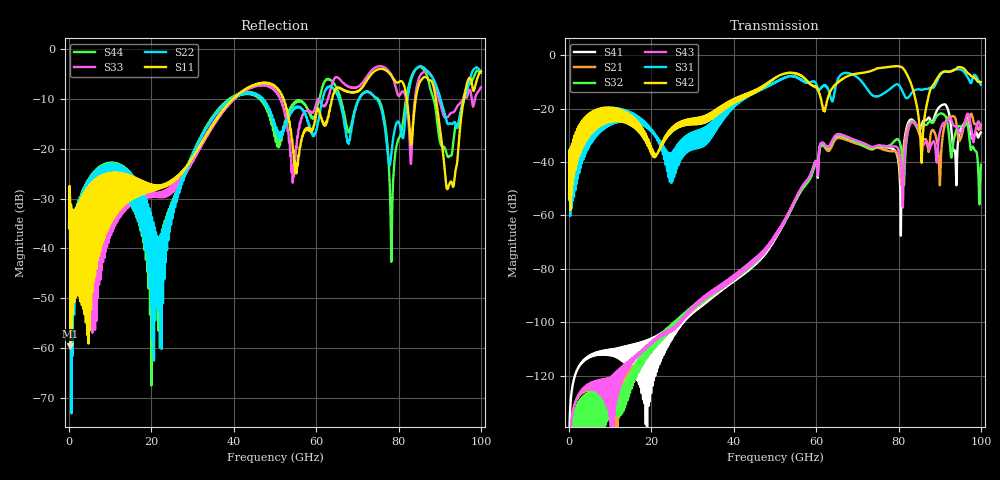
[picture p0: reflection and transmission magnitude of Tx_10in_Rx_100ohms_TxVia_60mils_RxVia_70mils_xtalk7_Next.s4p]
! Info: Touchstone file created by Circ.  Input file=Tx_10in_Rx_100ohms_TxVia_60mils_RxVia_70mils.circ
# Hz S RI R 50
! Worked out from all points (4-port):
!   10000 points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, 10 MHz to 100 GHz, reference 50 ohm
!   strongest paths, dB at 10 MHz, 25.01 GHz, 50.01 GHz, 75.01 GHz, 100 GHz:
!     S42: -53.7, -27.6, -8.6, -4.9, -10.0
!     S31: -54.3, -36.4, -10.2, -15.4, -11.1
!     S43: -154.7, -102.6, -68.2, -33.8, -27.4
!     S32: -170.3, -101.5, -68.3, -34.1, -41.0
!     S21: -167.2, -102.0, -68.3, -34.7, -26.0
!     S41: -150.4, -100.9, -68.9, -34.4, -29.0
!   lowest |S11| = -59.6 dB at 310 MHz (marker M1), VSWR 1.00, Z = 50 + j0.0998 ohm
!   |S11| at or under -10 dB: start of sweep to 39.81 GHz; 52.02 GHz to 63.91 GHz (11.88 GHz wide, 20.5 % of centre); 89.08 GHz to 95.87 GHz (6.787 GHz wide, 7.34 % of centre)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
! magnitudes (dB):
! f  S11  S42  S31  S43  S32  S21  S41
! 10 MHz  -35.9  -53.7  -54.3  -154.7  -170.3  -167.2  -150.4
! 310 MHz  -59.6  -45.0  -45.1  -141.4  -144.5  -141.7  -131.3
! 43.14 GHz  -7.9  -14.7  -14.9  -79.1  -79.6  -80.1  -80.4
! 65.23 GHz  -7.8  -10.3  -9.1  -29.5  -29.9  -31.1  -30.6
! 78.28 GHz  -5.3  -4.3  -12.2  -34.3  -33.3  -36.0  -34.9
! 85.59 GHz  -6.1  -40.2  -12.9  -31.2  -27.3  -31.8  -26.2
! 100 GHz  -4.4  -10.0  -11.1  -27.4  -41.0  -26.0  -29.0
